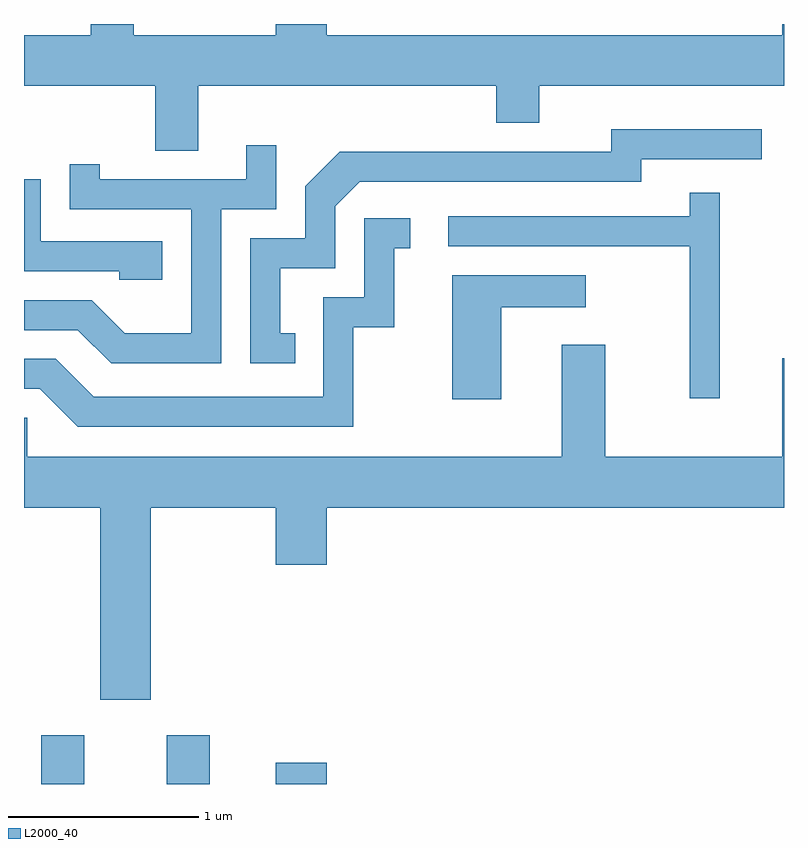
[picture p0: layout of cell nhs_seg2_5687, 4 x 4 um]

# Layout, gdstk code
import gdstk
lib = gdstk.Library(unit=1e-6, precision=1e-09)
def R(c, l, rs):  # rectangles x0, y0, x1, y1
    for r in rs: c.add(gdstk.rectangle(r[:2], r[2:], *l))
def P(c, l, *ps):  # polygons
    for p in ps: c.add(gdstk.Polygon(p, *l))
L2000_40 = (2000, 40)

nhs_seg2_5687 = lib.new_cell('nhs_seg2_5687')
R(nhs_seg2_5687, L2000_40, [(353.701,995.802,353.929,996.059), (354.361,995.802,354.589,996.059), (354.936,995.802,355.204,995.914)])
P(nhs_seg2_5687, L2000_40, [(354.189,999.802),(353.961,999.802),(353.961,999.744),(353.611,999.744),(353.611,999.476),(354.301,999.476),(354.301,999.136),(354.529,999.136),(354.529,999.476),(356.096,999.476),(356.096,999.281),(356.324,999.281),(356.324,999.476),(357.611,999.476),(357.611,999.802),(357.601,999.802),(357.601,999.744),(355.204,999.744),(355.204,999.802),(354.936,999.802),(354.936,999.744),(354.189,999.744)],
  [(355.038,998.174),(354.959,998.174),(354.959,998.516),(355.249,998.516),(355.249,998.844),(355.377,998.971),(356.859,998.971),(356.859,999.091),(357.493,999.091),(357.493,999.249),(356.701,999.249),(356.701,999.129),(355.274,999.129),(355.091,998.947),(355.091,998.674),(354.801,998.674),(354.801,998.016),(355.038,998.016)],
  [(354.649,998.826),(354.939,998.826),(354.939,999.163),(354.781,999.163),(354.781,998.984),(354.009,998.984),(354.009,999.063),(353.851,999.063),(353.851,998.826),(354.491,998.826),(354.491,998.174),(354.142,998.174),(353.967,998.349),(353.611,998.349),(353.611,998.191),(353.894,998.191),(354.069,998.016),(354.649,998.016)],
  [(354.339,998.659),(353.699,998.659),(353.699,998.984),(353.611,998.984),(353.611,998.501),(354.111,998.501),(354.111,998.456),(354.339,998.456)],
  [(357.274,998.913),(357.116,998.913),(357.116,998.789),(355.843,998.789),(355.843,998.631),(357.116,998.631),(357.116,997.833),(357.274,997.833)],
  [(355.344,998.206),(355.559,998.206),(355.559,998.621),(355.643,998.621),(355.643,998.779),(355.401,998.779),(355.401,998.364),(355.186,998.364),(355.186,997.839),(353.977,997.839),(353.777,998.039),(353.611,998.039),(353.611,997.881),(353.694,997.881),(353.894,997.681),(355.344,997.681)],
  [(356.124,998.311),(356.568,998.311),(356.568,998.479),(355.866,998.479),(355.866,997.826),(356.124,997.826)],
  [(354.279,997.256),(354.936,997.256),(354.936,996.956),(355.204,996.956),(355.204,997.256),(357.611,997.256),(357.611,998.044),(357.601,998.044),(357.601,997.524),(356.669,997.524),(356.669,998.114),(356.441,998.114),(356.441,997.524),(353.629,997.524),(353.629,997.729),(353.611,997.729),(353.611,997.256),(354.011,997.256),(354.011,996.246),(354.279,996.246)])

lib.write_gds('nhs_seg2_5687.gds')
